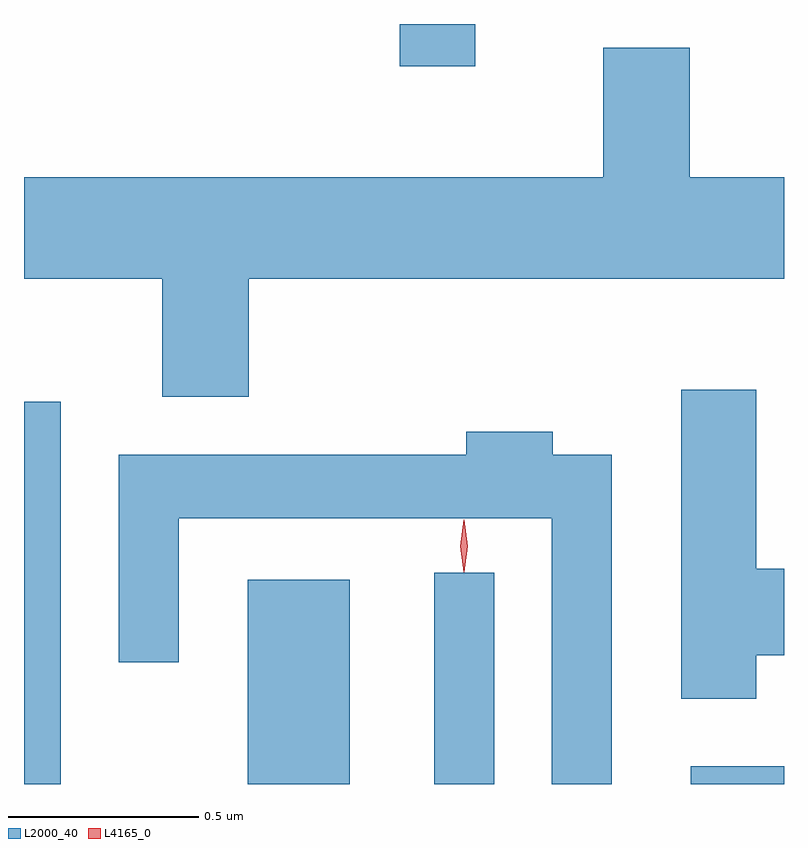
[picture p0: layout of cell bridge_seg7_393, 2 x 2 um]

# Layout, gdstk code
import gdstk
lib = gdstk.Library(unit=1e-6, precision=1e-09)
def R(c, l, rs):  # rectangles x0, y0, x1, y1
    for r in rs: c.add(gdstk.rectangle(r[:2], r[2:], *l))
def P(c, l, *ps):  # polygons
    for p in ps: c.add(gdstk.Polygon(p, *l))
L2000_40 = (2000, 40)
L4165_0 = (4165, 0)

bridge_seg7_393 = lib.new_cell('bridge_seg7_393')
R(bridge_seg7_393, L2000_40, [(1069.007,1737.407,1069.104,1738.413), (1069.596,1737.407,1069.864,1737.944), (1070.086,1737.407,1070.244,1737.963), (1070.761,1737.407,1071.007,1737.454), (1069.996,1739.296,1070.194,1739.407), (1069.431,1739.406,1069.659,1739.407)])
P(bridge_seg7_393, L2000_40, [(1069.599,1738.736),(1071.007,1738.736),(1071.007,1739.004),(1070.759,1739.004),(1070.759,1739.344),(1070.531,1739.344),(1070.531,1739.004),(1069.007,1739.004),(1069.007,1738.736),(1069.371,1738.736),(1069.371,1738.426),(1069.599,1738.426)],
  [(1070.934,1737.746),(1071.007,1737.746),(1071.007,1737.974),(1070.934,1737.974),(1070.934,1738.444),(1070.736,1738.444),(1070.736,1737.631),(1070.934,1737.631)],
  [(1070.554,1738.274),(1070.399,1738.274),(1070.399,1738.334),(1070.171,1738.334),(1070.171,1738.274),(1069.256,1738.274),(1069.256,1737.728),(1069.414,1737.728),(1069.414,1738.106),(1070.396,1738.106),(1070.396,1737.407),(1070.554,1737.407)])
P(bridge_seg7_393, L4165_0, [(1070.164,1737.964),(1070.155,1738.033),(1070.164,1738.102),(1070.165,1738.103),(1070.165,1738.102),(1070.175,1738.033),(1070.165,1737.964),(1070.165,1737.964)])

lib.write_gds('bridge_seg7_393.gds')
